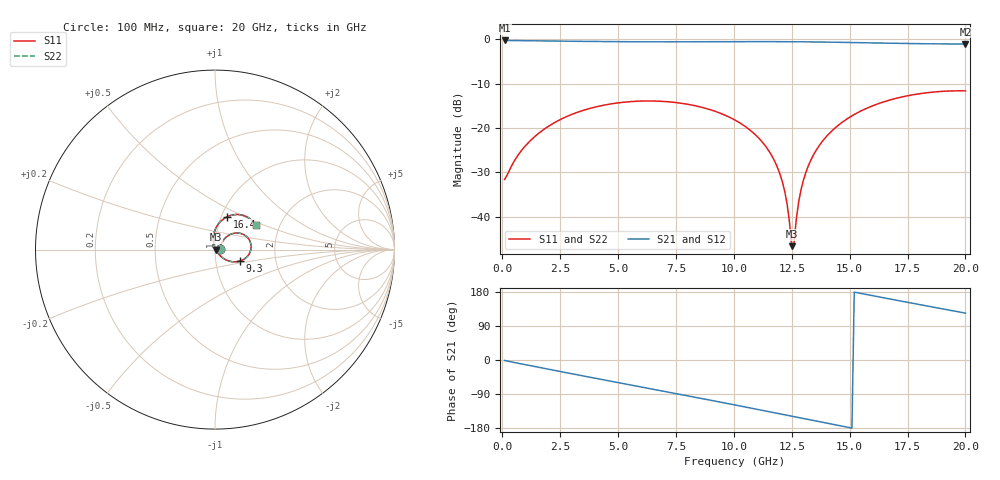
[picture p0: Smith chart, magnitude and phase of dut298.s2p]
! Touchstone file exported from HFSS 2026.1.0
!  File:  C:/ffzhzh/LocalFiles/Ansys_Project_Files/temp_train_TSV_RDL_298_1783088654_35048.aedt
!  Generated:  10:32:38 PM Jul  3, 2026
!  Design:  TSV_RDL
!  Project:  temp_train_TSV_RDL_298_1783088654_35048
! Variables:
!  h_bsmrdl = 2.46um
!  h_ox = 20um
!  h_rdl = 5um
!  h_sub = 91.35um
!  h_tmrdl = 2.77um
!  h_tsv = 91.35um
!  h_via = 3um
!  l_bsmrdl = 130.41um
!  l_sub = 3451.86um
!  l_tmrdl = 642.5um
!  m_sub = 200um
!  pitch = 27.35um
!  r_tsv = 10.6um
!  s_tmrdl = 10um
!  w_bsmrdl = 14.17um
!  w_sub = 500um
!  w_tmrdl = 16.04um
!  x_tsv_center1 = 650.52um
!  x_tsv_center2 = 795.1um
!  x_tsv_center3 = 1453.64um
!  x_tsv_center4 = 1598.22um
!  x_tsv_center5 = 2256.76um
!  x_tsv_center6 = 2401.34um
# GHz S MA R 50.000000
! Terminal data exported
! Port[1] = TM_RDL1_1_T1
! Port[2] = TM_RDL5_1_T1
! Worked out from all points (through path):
!   200 points, 100 MHz to 20 GHz, reference 50 ohm
!   highest |S21| = -0.22 dB at 100 MHz (marker M1); lowest = -1.0 dB at 20 GHz (marker M2)
!   group delay of S21, straight-line fit = 32.9 ps
!   lowest |S11| = -46.6 dB at 12.5 GHz (marker M3), VSWR 1.01, Z = 50.5 - j0.0399 ohm
!   |S11| at or under -10 dB: start of sweep to end of sweep
!   |S22| runs from -46.6 to -11.6 dB; largest |S21 - S12| = 2.2e-14
!   S11 on the Smith chart (normalised r, x): 100 MHz: 1.05, +0.01; 9.3 GHz: 1.30, -0.17; 16.4 GHz: 1.07, +0.40; 20 GHz: 1.51, +0.44
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0.1  0.02631 13.4  0.9745 -1.3  0.9745 -1.3  0.02631 13.4
! Gamma 0 0 0 0
! Port Impedance 50 0 50 0
0.7  0.05038 44.0  0.9687 -8.8  0.9687 -8.8  0.05039 44.0
1.4  0.08017 48.5  0.9641 -17.2  0.9641 -17.2  0.08017 48.5
3.5  0.1587 35.6  0.9516 -42.1  0.9516 -42.1  0.1586 35.6
5.2  0.1953 18.9  0.9434 -62.0  0.9434 -62.0  0.1953 18.9
6.8  0.201 2.0  0.9401 -80.5  0.9401 -80.5  0.2009 2.0
9.3  0.1511 -25.3  0.9433 -109.7  0.9433 -109.7  0.151 -25.3
10.1  0.1211 -34.1  0.9449 -119.2  0.9449 -119.2  0.1211 -34.1
11.1  0.07588 -44.6  0.9457 -131.3  0.9457 -131.3  0.07585 -44.6
11.8  0.04034 -50.1  0.945 -139.8  0.945 -139.8  0.04031 -50.1
12.2  0.01918 -48.5  0.944 -144.6  0.944 -144.6  0.01915 -48.4
12.4  0.008825 -35.9  0.9433 -147.1  0.9433 -147.1  0.008804 -35.7
12.5  0.004654 -4.9  0.943 -148.3  0.943 -148.3  0.004655 -4.4
12.6  0.005069 62.7  0.9426 -149.5  0.9426 -149.5  0.005106 62.9
12.7  0.00952 88.8  0.9421 -150.7  0.9421 -150.7  0.009558 88.7
12.9  0.02012 99.8  0.9412 -153.2  0.9412 -153.2  0.02016 99.7
13.4  0.04765 100.6  0.9383 -159.2  0.9383 -159.2  0.04768 100.5
13.9  0.07509 96.5  0.9347 -165.3  0.9347 -165.3  0.07512 96.4
14.6  0.1123 89.3  0.9287 -173.7  0.9287 -173.7  0.1124 89.3
16.4  0.1949 69.6  0.9105 164.9  0.9105 164.9  0.1949 69.6
16.7  0.2061 66.4  0.9075 161.4  0.9075 161.4  0.2061 66.3
20  0.2629 30.9  0.888 123.7  0.888 123.7  0.2629 30.9
